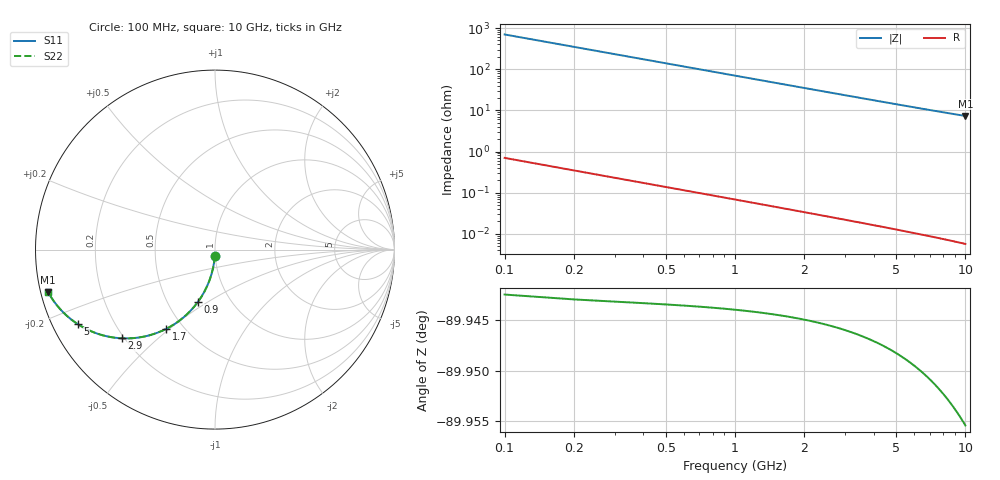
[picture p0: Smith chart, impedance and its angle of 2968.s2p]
# Hz S RI R 50.00
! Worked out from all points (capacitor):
!   100 points, 100 MHz to 10 GHz, reference 50 ohm
!   read as one part in shunt: C = 2.29 pF near 100 MHz
!   lowest |Z| = 7.31 ohm at 10 GHz (marker M1)
!   S11 on the Smith chart (normalised r, x): 100 MHz: 0.99, -0.07; 900 MHz: 0.71, -0.45; 1.7 GHz: 0.40, -0.49; 2.9 GHz: 0.19, -0.39; 5 GHz: 0.07, -0.25; 10 GHz: 0.02, -0.13
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1e8  -0.00126 -0.0357  0.9986 -0.036  0.9986 -0.036  -0.00126 -0.0357
2e8  -0.00514 -0.0711  0.9947 -0.0717  0.9947 -0.0717  -0.00514 -0.0711
3e8  -0.0115 -0.1059  0.9884 -0.1069  0.9884 -0.1069  -0.0115 -0.1059
4e8  -0.0203 -0.14  0.9796 -0.1413  0.9796 -0.1413  -0.0203 -0.14
5e8  -0.0313 -0.173  0.9686 -0.1746  0.9686 -0.1746  -0.0313 -0.173
6e8  -0.0444 -0.2047  0.9554 -0.2067  0.9554 -0.2067  -0.0444 -0.2047
7e8  -0.0595 -0.235  0.9403 -0.2374  0.9403 -0.2374  -0.0595 -0.235
9e8  -0.0947 -0.2908  0.9052 -0.2939  0.9052 -0.2939  -0.0947 -0.2908
1.1e9  -0.135 -0.3395  0.8648 -0.3432  0.8648 -0.3432  -0.135 -0.3395
1.3e9  -0.179 -0.3807  0.8209 -0.3851  0.8209 -0.3851  -0.179 -0.3807
1.7e9  -0.2715 -0.4414  0.7284 -0.4471  0.7284 -0.4471  -0.2715 -0.4414
1.8e9  -0.2946 -0.4524  0.7052 -0.4584  0.7052 -0.4584  -0.2946 -0.4524
2.3e9  -0.4054 -0.4866  0.5944 -0.4944  0.5944 -0.4944  -0.4054 -0.4866
2.9e9  -0.5201 -0.4942  0.4797 -0.504  0.4797 -0.504  -0.5201 -0.4942
3.4e9  -0.5984 -0.4839  0.4014 -0.4954  0.4014 -0.4954  -0.5984 -0.4839
4.2e9  -0.6947 -0.4528  0.305 -0.4671  0.305 -0.4671  -0.6947 -0.4528
5e9  -0.7635 -0.4158  0.2362 -0.4328  0.2362 -0.4328  -0.7635 -0.4158
5.1e9  -0.7707 -0.4111  0.2291 -0.4285  0.2291 -0.4285  -0.7707 -0.4111
5.9e9  -0.8183 -0.3748  0.1813 -0.395  0.1813 -0.395  -0.8183 -0.3748
6.7e9  -0.8534 -0.3415  0.1462 -0.3645  0.1462 -0.3645  -0.8534 -0.3415
8.4e9  -0.902 -0.2818  0.0974 -0.311  0.0974 -0.311  -0.902 -0.2818
1e10  -0.9292 -0.2377  0.07 -0.2728  0.07 -0.2728  -0.9292 -0.2377
